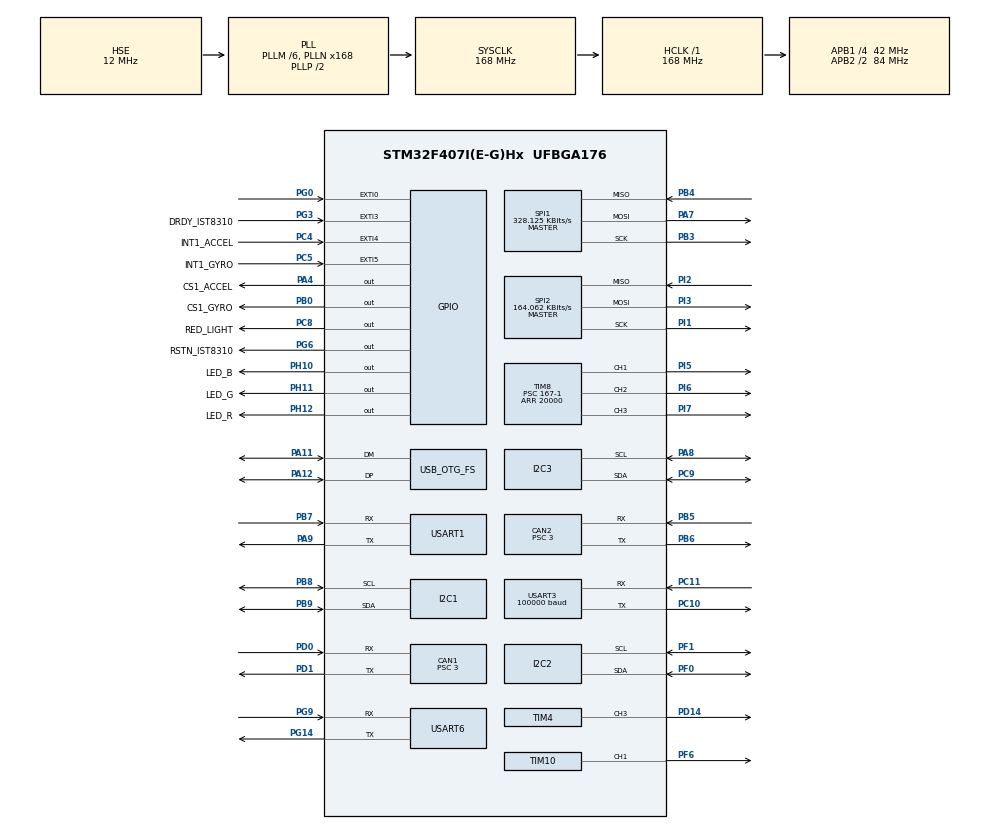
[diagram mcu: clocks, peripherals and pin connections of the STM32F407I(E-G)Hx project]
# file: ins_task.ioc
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CAN1.BS1=CAN_BS1_10TQ
CAN1.BS2=CAN_BS2_3TQ
CAN1.CalculateBaudRate=1000000
CAN1.CalculateTimeQuantum=71.42857142857143
CAN1.Prescaler=3
CAN2.BS1=CAN_BS1_10TQ
CAN2.BS2=CAN_BS2_3TQ
CAN2.CalculateBaudRate=1000000
CAN2.CalculateTimeQuantum=71.42857142857143
CAN2.Prescaler=3
Dma.I2C2_TX.7.Direction=DMA_MEMORY_TO_PERIPH
Dma.I2C2_TX.7.FIFOMode=DMA_FIFOMODE_DISABLE
Dma.I2C2_TX.7.Instance=DMA1_Stream7
Dma.I2C2_TX.7.MemDataAlignment=DMA_MDATAALIGN_BYTE
Dma.I2C2_TX.7.MemInc=DMA_MINC_ENABLE
Dma.I2C2_TX.7.Mode=DMA_NORMAL
Dma.I2C2_TX.7.PeriphDataAlignment=DMA_PDATAALIGN_BYTE
Dma.I2C2_TX.7.PeriphInc=DMA_PINC_DISABLE
Dma.I2C2_TX.7.Priority=DMA_PRIORITY_LOW
Dma.Request0=SPI1_RX
Dma.Request1=SPI1_TX
Dma.Request2=USART3_RX
Dma.Request3=USART1_RX
Dma.Request4=USART1_TX
Dma.Request5=USART6_RX
Dma.Request6=USART6_TX
Dma.Request7=I2C2_TX
Dma.SPI1_RX.0.Direction=DMA_PERIPH_TO_MEMORY
Dma.SPI1_RX.0.FIFOMode=DMA_FIFOMODE_DISABLE
Dma.SPI1_RX.0.Instance=DMA2_Stream2
Dma.SPI1_RX.0.MemDataAlignment=DMA_MDATAALIGN_BYTE
Dma.SPI1_RX.0.MemInc=DMA_MINC_ENABLE
Dma.SPI1_RX.0.Mode=DMA_NORMAL
Dma.SPI1_RX.0.PeriphDataAlignment=DMA_PDATAALIGN_BYTE
Dma.SPI1_RX.0.PeriphInc=DMA_PINC_DISABLE
Dma.SPI1_RX.0.Priority=DMA_PRIORITY_VERY_HIGH
Dma.SPI1_TX.1.Direction=DMA_MEMORY_TO_PERIPH
Dma.SPI1_TX.1.FIFOMode=DMA_FIFOMODE_DISABLE
Dma.SPI1_TX.1.Instance=DMA2_Stream3
Dma.SPI1_TX.1.MemDataAlignment=DMA_MDATAALIGN_BYTE
Dma.SPI1_TX.1.MemInc=DMA_MINC_ENABLE
Dma.SPI1_TX.1.Mode=DMA_NORMAL
Dma.SPI1_TX.1.PeriphDataAlignment=DMA_PDATAALIGN_BYTE
Dma.SPI1_TX.1.PeriphInc=DMA_PINC_DISABLE
Dma.SPI1_TX.1.Priority=DMA_PRIORITY_HIGH
Dma.USART1_RX.3.Direction=DMA_PERIPH_TO_MEMORY
Dma.USART1_RX.3.FIFOMode=DMA_FIFOMODE_DISABLE
Dma.USART1_RX.3.Instance=DMA2_Stream5
Dma.USART1_RX.3.MemDataAlignment=DMA_MDATAALIGN_BYTE
Dma.USART1_RX.3.MemInc=DMA_MINC_ENABLE
Dma.USART1_RX.3.Mode=DMA_CIRCULAR
Dma.USART1_RX.3.PeriphDataAlignment=DMA_PDATAALIGN_BYTE
Dma.USART1_RX.3.PeriphInc=DMA_PINC_DISABLE
Dma.USART1_RX.3.Priority=DMA_PRIORITY_LOW
Dma.USART1_TX.4.Direction=DMA_MEMORY_TO_PERIPH
Dma.USART1_TX.4.FIFOMode=DMA_FIFOMODE_DISABLE
Dma.USART1_TX.4.Instance=DMA2_Stream7
Dma.USART1_TX.4.MemDataAlignment=DMA_MDATAALIGN_BYTE
Dma.USART1_TX.4.MemInc=DMA_MINC_ENABLE
Dma.USART1_TX.4.Mode=DMA_NORMAL
Dma.USART1_TX.4.PeriphDataAlignment=DMA_PDATAALIGN_BYTE
Dma.USART1_TX.4.PeriphInc=DMA_PINC_DISABLE
Dma.USART1_TX.4.Priority=DMA_PRIORITY_LOW
Dma.USART3_RX.2.Direction=DMA_PERIPH_TO_MEMORY
Dma.USART3_RX.2.FIFOMode=DMA_FIFOMODE_DISABLE
Dma.USART3_RX.2.Instance=DMA1_Stream1
Dma.USART3_RX.2.MemDataAlignment=DMA_MDATAALIGN_BYTE
Dma.USART3_RX.2.MemInc=DMA_MINC_ENABLE
Dma.USART3_RX.2.Mode=DMA_CIRCULAR
Dma.USART3_RX.2.PeriphDataAlignment=DMA_PDATAALIGN_BYTE
Dma.USART3_RX.2.PeriphInc=DMA_PINC_DISABLE
Dma.USART3_RX.2.Priority=DMA_PRIORITY_LOW
Dma.USART6_RX.5.Direction=DMA_PERIPH_TO_MEMORY
Dma.USART6_RX.5.FIFOMode=DMA_FIFOMODE_DISABLE
Dma.USART6_RX.5.Instance=DMA2_Stream1
Dma.USART6_RX.5.MemDataAlignment=DMA_MDATAALIGN_BYTE
Dma.USART6_RX.5.MemInc=DMA_MINC_ENABLE
Dma.USART6_RX.5.Mode=DMA_NORMAL
Dma.USART6_RX.5.PeriphDataAlignment=DMA_PDATAALIGN_BYTE
Dma.USART6_RX.5.PeriphInc=DMA_PINC_DISABLE
Dma.USART6_RX.5.Priority=DMA_PRIORITY_LOW
Dma.USART6_TX.6.Direction=DMA_MEMORY_TO_PERIPH
Dma.USART6_TX.6.FIFOMode=DMA_FIFOMODE_DISABLE
Dma.USART6_TX.6.Instance=DMA2_Stream6
Dma.USART6_TX.6.MemDataAlignment=DMA_MDATAALIGN_BYTE
Dma.USART6_TX.6.MemInc=DMA_MINC_ENABLE
Dma.USART6_TX.6.Mode=DMA_NORMAL
Dma.USART6_TX.6.PeriphDataAlignment=DMA_PDATAALIGN_BYTE
Dma.USART6_TX.6.PeriphInc=DMA_PINC_DISABLE
Dma.USART6_TX.6.Priority=DMA_PRIORITY_LOW
FREERTOS.INCLUDE_eTaskGetState=1
FREERTOS.INCLUDE_pcTaskGetTaskName=1
FREERTOS.INCLUDE_uxTaskGetStackHighWaterMark=1
FREERTOS.INCLUDE_vTaskCleanUpResources=1
FREERTOS.INCLUDE_vTaskDelayUntil=1
FREERTOS.INCLUDE_xEventGroupSetBitFromISR=1
FREERTOS.INCLUDE_xQueueGetMutexHolder=1
FREERTOS.INCLUDE_xSemaphoreGetMutexHolder=1
FREERTOS.INCLUDE_xTaskAbortDelay=1
FREERTOS.INCLUDE_xTaskGetCurrentTaskHandle=1
FREERTOS.INCLUDE_xTaskGetHandle=1
FREERTOS.INCLUDE_xTimerPendFunctionCall=1
FREERTOS.Tasks01=PC_send,0,128,pc_send,As weak,NULL,Dynamic,NULL,NULL;Gimbal_task,2,512,gimbal_task,As weak,NULL,Dynamic,NULL,NULL;REFEREE,1,128,referee_usart_task,As weak,NULL,Dynamic,NULL,NULL;Ui_task,-1,256,UI_task,As weak,NULL,Dynamic,NULL,NULL;USB_task,-1,128,usb_task,As weak,NULL,Dynamic,NULL,NULL;SolveTrajectory,-3,128,solvetrajectory_task,As external,NULL,Dynamic,NULL,NULL
FREERTOS.configTOTAL_HEAP_SIZE=24576
I2C2.I2C_Mode=I2C_Fast
I2C3.I2C_Mode=I2C_Fast
Mcu.Family=STM32F4
Mcu.Name=STM32F407I(E-G)Hx
Mcu.Package=UFBGA176
NVIC.CAN1_RX0_IRQn=true\:0\:0\:true\:false\:true\:false\:true\:true\:true
NVIC.CAN2_RX0_IRQn=true\:3\:0\:true\:false\:true\:false\:true\:true\:true
NVIC.DMA1_Stream1_IRQn=true\:5\:0\:true\:false\:true\:false\:false\:true\:true
NVIC.DMA1_Stream7_IRQn=true\:5\:0\:true\:false\:true\:false\:false\:true\:true
NVIC.DMA2_Stream1_IRQn=true\:5\:0\:true\:false\:true\:false\:false\:true\:true
NVIC.DMA2_Stream2_IRQn=true\:5\:0\:true\:false\:false\:false\:false\:true\:true
NVIC.DMA2_Stream3_IRQn=true\:5\:0\:true\:false\:false\:false\:false\:true\:true
NVIC.DMA2_Stream5_IRQn=true\:5\:0\:false\:false\:true\:true\:false\:true\:true
NVIC.DMA2_Stream6_IRQn=true\:5\:0\:true\:false\:true\:false\:false\:true\:true
NVIC.DMA2_Stream7_IRQn=true\:5\:0\:false\:false\:true\:true\:false\:true\:true
NVIC.EXTI0_IRQn=true\:6\:0\:true\:false\:true\:false\:true\:true\:true
NVIC.EXTI3_IRQn=true\:5\:0\:true\:false\:true\:false\:true\:true\:true
NVIC.EXTI4_IRQn=true\:5\:0\:true\:false\:true\:false\:true\:true\:true
NVIC.EXTI9_5_IRQn=true\:5\:0\:true\:false\:true\:false\:true\:true\:true
NVIC.OTG_FS_IRQn=true\:5\:0\:false\:false\:true\:false\:false\:true\:true
NVIC.PriorityGroup=NVIC_PRIORITYGROUP_4
NVIC.TIM1_BRK_TIM9_IRQn=true\:5\:0\:false\:false\:true\:false\:true\:true\:true
NVIC.TIM1_UP_TIM10_IRQn=true\:5\:0\:false\:false\:true\:false\:true\:true\:true
NVIC.TIM2_IRQn=true\:0\:0\:true\:false\:true\:false\:true\:true\:true
NVIC.TIM3_IRQn=true\:5\:0\:false\:false\:true\:true\:true\:true\:true
NVIC.TIM8_CC_IRQn=true\:5\:0\:false\:false\:true\:false\:true\:true\:true
NVIC.USART1_IRQn=true\:4\:0\:true\:false\:true\:false\:true\:true\:true
NVIC.USART3_IRQn=true\:3\:0\:true\:false\:true\:false\:true\:true\:true
NVIC.USART6_IRQn=true\:6\:0\:true\:false\:true\:false\:true\:true\:true
PA11.Mode=Device_Only
PA11.Signal=USB_OTG_FS_DM
PA12.Mode=Device_Only
PA12.Signal=USB_OTG_FS_DP
PA13.Mode=Serial_Wire
PA13.Signal=SYS_JTMS-SWDIO
PA14.Mode=Serial_Wire
PA14.Signal=SYS_JTCK-SWCLK
PA4.GPIO_Label=CS1_ACCEL
PA4.GPIO_PuPd=GPIO_PULLUP
PA4.GPIO_Speed=GPIO_SPEED_FREQ_HIGH
PA4.PinState=GPIO_PIN_SET
PA4.Signal=GPIO_Output
PA7.GPIO_PuPd=GPIO_PULLUP
PA7.Mode=Full_Duplex_Master
PA7.Signal=SPI1_MOSI
PA8.GPIO_Pu=GPIO_PULLUP
PA8.Mode=I2C
PA8.Signal=I2C3_SCL
PA9.Mode=Asynchronous
PA9.Signal=USART1_TX
PB0.GPIO_Label=CS1_GYRO
PB0.GPIO_PuPd=GPIO_PULLUP
PB0.GPIO_Speed=GPIO_SPEED_FREQ_HIGH
PB0.PinState=GPIO_PIN_SET
PB0.Signal=GPIO_Output
PB3.GPIO_PuPd=GPIO_PULLUP
PB3.Mode=Full_Duplex_Master
PB3.Signal=SPI1_SCK
PB4.GPIO_PuPd=GPIO_PULLUP
PB4.Mode=Full_Duplex_Master
PB4.Signal=SPI1_MISO
PB5.Mode=CAN_Activate
PB5.Signal=CAN2_RX
PB6.Mode=CAN_Activate
PB6.Signal=CAN2_TX
PB7.Mode=Asynchronous
PB7.Signal=USART1_RX
PB8.GPIO_Pu=GPIO_PULLUP
PB8.Mode=I2C
PB8.Signal=I2C1_SCL
PB9.GPIO_Pu=GPIO_PULLUP
PB9.Mode=I2C
PB9.Signal=I2C1_SDA
PC10.Mode=Asynchronous
PC10.Signal=USART3_TX
PC11.Mode=Asynchronous
PC11.Signal=USART3_RX
PC4.GPIO_Label=INT1_ACCEL
PC4.GPIO_ModeDefaultEXTI=GPIO_MODE_IT_FALLING
PC4.GPIO_PuPd=GPIO_PULLUP
PC4.Signal=GPXTI4
PC5.GPIO_Label=INT1_GYRO
PC5.GPIO_ModeDefaultEXTI=GPIO_MODE_IT_FALLING
PC5.GPIO_PuPd=GPIO_PULLUP
PC5.Signal=GPXTI5
PC8.GPIO_Label=RED_LIGHT
PC8.GPIO_ModeDefaultOutputPP=GPIO_MODE_OUTPUT_PP
PC8.GPIO_PuPd=GPIO_PULLUP
PC8.GPIO_Speed=GPIO_SPEED_FREQ_MEDIUM
PC8.PinState=GPIO_PIN_SET
PC8.Signal=GPIO_Output
PC9.GPIO_Pu=GPIO_PULLUP
PC9.Mode=I2C
PC9.Signal=I2C3_SDA
PD0.Mode=CAN_Activate
PD0.Signal=CAN1_RX
PD1.Mode=CAN_Activate
PD1.Signal=CAN1_TX
PD14.Signal=S_TIM4_CH3
PF0.GPIO_Pu=GPIO_PULLUP
PF0.Mode=I2C
PF0.Signal=I2C2_SDA
PF1.GPIO_Pu=GPIO_PULLUP
PF1.Mode=I2C
PF1.Signal=I2C2_SCL
PF6.GPIO_PuPd=GPIO_PULLUP
PF6.GPIO_Speed=GPIO_SPEED_FREQ_HIGH
PF6.Signal=S_TIM10_CH1
PG0.GPIO_ModeDefaultEXTI=GPIO_MODE_IT_FALLING
PG0.GPIO_PuPd=GPIO_PULLUP
PG0.Signal=GPXTI0
PG14.Mode=Asynchronous
PG14.Signal=USART6_TX
PG3.GPIO_Label=DRDY_IST8310
PG3.GPIO_ModeDefaultEXTI=GPIO_MODE_IT_FALLING
PG3.GPIO_PuPd=GPIO_PULLUP
PG3.Signal=GPXTI3
PG6.GPIO_Label=RSTN_IST8310
PG6.GPIO_PuPd=GPIO_PULLUP
PG6.GPIO_Speed=GPIO_SPEED_FREQ_MEDIUM
PG6.PinState=GPIO_PIN_SET
PG6.Signal=GPIO_Output
PG9.Mode=Asynchronous
PG9.Signal=USART6_RX
PH0-OSC_IN.Mode=HSE-External-Oscillator
PH0-OSC_IN.Signal=RCC_OSC_IN
PH1-OSC_OUT.Mode=HSE-External-Oscillator
PH1-OSC_OUT.Signal=RCC_OSC_OUT
PH10.GPIO_Label=LED_B
PH10.GPIO_ModeDefaultOutputPP=GPIO_MODE_OUTPUT_PP
PH10.GPIO_PuPd=GPIO_PULLUP
PH10.GPIO_Speed=GPIO_SPEED_FREQ_MEDIUM
PH10.PinState=GPIO_PIN_SET
PH10.Signal=GPIO_Output
PH11.GPIO_Label=LED_G
PH11.GPIO_ModeDefaultOutputPP=GPIO_MODE_OUTPUT_PP
PH11.GPIO_PuPd=GPIO_PULLUP
PH11.GPIO_Speed=GPIO_SPEED_FREQ_MEDIUM
PH11.PinState=GPIO_PIN_SET
PH11.Signal=GPIO_Output
PH12.GPIO_Label=LED_R
PH12.GPIO_ModeDefaultOutputPP=GPIO_MODE_OUTPUT_PP
PH12.GPIO_PuPd=GPIO_PULLUP
PH12.GPIO_Speed=GPIO_SPEED_FREQ_MEDIUM
PH12.PinState=GPIO_PIN_SET
PH12.Signal=GPIO_Output
PI1.Mode=Full_Duplex_Master
PI1.Signal=SPI2_SCK
PI2.Mode=Full_Duplex_Master
PI2.Signal=SPI2_MISO
PI3.Mode=Full_Duplex_Master
PI3.Signal=SPI2_MOSI
PI5.Signal=S_TIM8_CH1
PI6.Signal=S_TIM8_CH2
PI7.Signal=S_TIM8_CH3
ProjectManager.HeapSize=0x2000
ProjectManager.StackSize=0x2000
ProjectManager.TargetToolchain=MDK-ARM V5
RCC.48MHZClocksFreq_Value=48000000
RCC.AHBFreq_Value=168000000
RCC.APB1CLKDivider=RCC_HCLK_DIV4
RCC.APB1Freq_Value=42000000
RCC.APB1TimFreq_Value=84000000
RCC.APB2CLKDivider=RCC_HCLK_DIV2
RCC.APB2Freq_Value=84000000
RCC.APB2TimFreq_Value=168000000
RCC.CortexFreq_Value=168000000
RCC.HCLKFreq_Value=168000000
RCC.HSE_VALUE=12000000
RCC.HSI_VALUE=16000000
RCC.LSE_VALUE=32768
RCC.PLLM=6
RCC.PLLN=168
RCC.PLLQ=7
RCC.RCC_RTC_Clock_SourceVirtual=RCC_RTCCLKSOURCE_HSE_DIV30
RCC.RCC_RTC_Clock_Source_FROM_HSE=RCC_RTCCLKSOURCE_HSE_DIV30
RCC.SYSCLKFreq_VALUE=168000000
RCC.SYSCLKSource=RCC_SYSCLKSOURCE_PLLCLK
RCC.VCOOutputFreq_Value=336000000
SH.S_TIM10_CH1.0=TIM10_CH1,PWM Generation1 CH1
SH.S_TIM4_CH3.0=TIM4_CH3,PWM Generation3 CH3
SH.S_TIM8_CH1.0=TIM8_CH1,Output Compare1 CH1
SH.S_TIM8_CH2.0=TIM8_CH2,Output Compare2 CH2
SH.S_TIM8_CH3.0=TIM8_CH3,PWM Generation3 CH3
SPI1.BaudRatePrescaler=SPI_BAUDRATEPRESCALER_256
SPI1.CLKPhase=SPI_PHASE_2EDGE
SPI1.CLKPolarity=SPI_POLARITY_HIGH
SPI1.CalculateBaudRate=328.125 KBits/s
SPI1.Direction=SPI_DIRECTION_2LINES
SPI1.Mode=SPI_MODE_MASTER
SPI1.VirtualType=VM_MASTER
SPI2.BaudRatePrescaler=SPI_BAUDRATEPRESCALER_256
SPI2.CLKPhase=SPI_PHASE_2EDGE
SPI2.CLKPolarity=SPI_POLARITY_HIGH
SPI2.CalculateBaudRate=164.062 KBits/s
SPI2.Direction=SPI_DIRECTION_2LINES
SPI2.Mode=SPI_MODE_MASTER
SPI2.VirtualType=VM_MASTER
TIM1.Period=5000
TIM1.Prescaler=168-1
TIM10.Channel=TIM_CHANNEL_1
TIM10.Period=4999
TIM2.Period=1000000
TIM2.Prescaler=84-1
TIM3.Period=100-1
TIM3.Prescaler=83
TIM4.Channel-PWM\ Generation3\ CH3=TIM_CHANNEL_3
TIM4.Period=20999
TIM8.Channel-Output\ Compare1\ CH1=TIM_CHANNEL_1
TIM8.Channel-Output\ Compare2\ CH2=TIM_CHANNEL_2
TIM8.Channel-PWM\ Generation3\ CH3=TIM_CHANNEL_3
TIM8.Period=20000
TIM8.Prescaler=167-1
TIM8.Pulse-Output\ Compare1\ CH1=10000
USART1.VirtualMode=VM_ASYNC
USART3.BaudRate=100000
USART3.Parity=PARITY_EVEN
USART3.VirtualMode=VM_ASYNC
USART3.WordLength=WORDLENGTH_8B
USART6.VirtualMode=VM_ASYNC
USB_DEVICE.CLASS_NAME_FS=CDC
USB_DEVICE.VirtualMode-CDC_FS=Cdc
USB_DEVICE.VirtualModeFS=Cdc_FS
USB_OTG_FS.VirtualMode=Device_Only
VP_CRC_VS_CRC.Mode=CRC_Activate
VP_FREERTOS_VS_CMSIS_V1.Mode=CMSIS_V1
VP_TIM10_VS_ClockSourceINT.Mode=Enable_Timer
VP_TIM1_VS_ClockSourceINT.Mode=Internal
VP_TIM2_VS_ClockSourceINT.Mode=Internal
VP_TIM3_VS_ClockSourceINT.Mode=Internal
VP_TIM5_VS_ClockSourceINT.Mode=Internal
VP_TIM8_VS_ClockSourceINT.Mode=Internal
VP_USB_DEVICE_VS_USB_DEVICE_CDC_FS.Mode=CDC_FS
board=custom

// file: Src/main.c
/* USER CODE BEGIN Header */
/**
  ******************************************************************************
  * @file           : main.c
  * @brief          : Main program body
  ******************************************************************************
  * @attention
  *
  * <h2><center>&copy; Copyright (c) 2019 STMicroelectronics.
  * All rights reserved.</center></h2>
  *
  * This software component is licensed by ST under Ultimate Liberty license
  * SLA0044, the "License"; You may not use this file except in compliance with
  * the License. You may obtain a copy of the License at:
  *                             www.st.com/SLA0044
  *
  ******************************************************************************
  */
/* USER CODE END Header */
#include "main.h"
#include "cmsis_os.h"
#include "can.h"
#include "crc.h"
#include "dma.h"
#include "i2c.h"
#include "spi.h"
#include "tim.h"
#include "usart.h"
#include "usb_device.h"
#include "gpio.h"

/* USER CODE BEGIN Includes */
#include "ins_task.h"
#include "bsp_delay.h"
#include "bsp_usart.h"
#include "remote_control.h"
#include "bsp_can.h"
#include "pid.h"
#include "string.h"
#include "CAN_receive.h"
#include "gimbal_task.h"
#include "oled_task.h"
#include "SolveTrajectory.h"
#include "remote_control.h"
#include "stdio.h"
#include "OLED.h"
#include "user_lib.h"
#include "decet_task.h"
#include "fire_control_action.h"
#include "referee.h"
#include "usbd_cdc_if.h"
#include "bsp_flash.h"
#include "OLED.h"
#include "bsp_dwt.h"
#include "BMI088driver.h"
/* USER CODE END Includes */

/* USER CODE BEGIN PTD */
uint8_t sbus_rx_buffer[18]; 		//声明遥控器缓存数组

/* USER CODE END PTD */

void SystemClock_Config(void);
void MX_FREERTOS_Init(void);

/* USER CODE BEGIN 0 */
#define FLASH_DATA_LENGHT   19
uint8_t after_erase_data[FLASH_DATA_LENGHT];
uint8_t write_data[FLASH_DATA_LENGHT] = "The spear of Ares\r\n";
uint8_t after_write_data[FLASH_DATA_LENGHT];
/* USER CODE END 0 */

int main(void)
{

  /* MCU Configuration--------------------------------------------------------*/

  /* Reset of all peripherals, Initializes the Flash interface and the Systick. */
  HAL_Init();

  /* Configure the system clock */
  SystemClock_Config();

  /* Initialize all configured peripherals */
  MX_GPIO_Init();
  MX_DMA_Init();
  MX_SPI1_Init();
  MX_TIM5_Init();
  MX_TIM10_Init();
  MX_CAN1_Init();
  MX_CAN2_Init();
  MX_USART3_UART_Init();
  MX_SPI2_Init();
  MX_TIM1_Init();
  MX_TIM2_Init();
  MX_TIM8_Init();
  MX_USART1_UART_Init();
  MX_CRC_Init();
  MX_USART6_UART_Init();
  MX_I2C1_Init();
  MX_I2C2_Init();
  MX_I2C3_Init();
  MX_TIM3_Init();
  MX_TIM4_Init();
  /* USER CODE BEGIN 2 */
  delay_init();
	MX_USB_DEVICE_Init();
	HAL_TIM_Base_Start_IT(&htim2);
	HAL_TIM_Base_Start_IT(&htim4);
	HAL_TIM_Base_Start_IT(&htim8);
	HAL_TIM_PWM_Start(&htim8,TIM_CHANNEL_3);
	HAL_TIM_PWM_Start(&htim4,TIM_CHANNEL_3);
	remote_control_init();
	can_filter_init();
	Bsp_UART_Receive_IT((UART_HandleTypeDef *) &huart1,(uint8_t *)PC_Buf  , (uint16_t)50);//开启空闲接受PC数据kjs;
	red_linght_open();
	DWT_Init(168);
	while (BMI088_init(&hspi1, 0) != BMI088_NO_ERROR)
	;
  /* USER CODE END 2 */

  /* Call init function for freertos objects (in freertos.c) */
  MX_FREERTOS_Init();

  /* Start scheduler */
  osKernelStart();

  /* We should never get here as control is now taken by the scheduler */
  /* Infinite loop */
  while (1)
  {

  }
}

void SystemClock_Config(void)
{
  RCC_OscInitTypeDef RCC_OscInitStruct = {0};
  RCC_ClkInitTypeDef RCC_ClkInitStruct = {0};

  /** Configure the main internal regulator output voltage
  */
  __HAL_RCC_PWR_CLK_ENABLE();
  __HAL_PWR_VOLTAGESCALING_CONFIG(PWR_REGULATOR_VOLTAGE_SCALE1);

  /** Initializes the RCC Oscillators according to the specified parameters
  * in the RCC_OscInitTypeDef structure.
  */
  RCC_OscInitStruct.OscillatorType = RCC_OSCILLATORTYPE_HSE;
  RCC_OscInitStruct.HSEState = RCC_HSE_ON;
  RCC_OscInitStruct.PLL.PLLState = RCC_PLL_ON;
  RCC_OscInitStruct.PLL.PLLSource = RCC_PLLSOURCE_HSE;
  RCC_OscInitStruct.PLL.PLLM = 6;
  RCC_OscInitStruct.PLL.PLLN = 168;
  RCC_OscInitStruct.PLL.PLLP = RCC_PLLP_DIV2;
  RCC_OscInitStruct.PLL.PLLQ = 7;
  if (HAL_RCC_OscConfig(&RCC_OscInitStruct) != HAL_OK)
  {
    Error_Handler();
  }

  /** Initializes the CPU, AHB and APB buses clocks
  */
  RCC_ClkInitStruct.ClockType = RCC_CLOCKTYPE_HCLK|RCC_CLOCKTYPE_SYSCLK
                              |RCC_CLOCKTYPE_PCLK1|RCC_CLOCKTYPE_PCLK2;
  RCC_ClkInitStruct.SYSCLKSource = RCC_SYSCLKSOURCE_PLLCLK;
  RCC_ClkInitStruct.AHBCLKDivider = RCC_SYSCLK_DIV1;
  RCC_ClkInitStruct.APB1CLKDivider = RCC_HCLK_DIV4;
  RCC_ClkInitStruct.APB2CLKDivider = RCC_HCLK_DIV2;

  if (HAL_RCC_ClockConfig(&RCC_ClkInitStruct, FLASH_LATENCY_5) != HAL_OK)
  {
    Error_Handler();
  }
}

/* USER CODE BEGIN 4 */
void HAL_TIM_PeriodElapsedCallback(TIM_HandleTypeDef *htim)//定时器中断
{
	if(htim->Instance==TIM1)//1s200次
	{

	}
	if(htim->Instance==TIM2)//1s一次
	{
		Hz_detection_task();
	}
	if(htim->Instance==TIM3)//0.1ms一次
	{
		Time.main_Time++;
	}
}
void vTaskFunction( void * pvParameters )
 {
 TickType_t xLastWakeTime;
 const TickType_t xFrequency = 10;

     // Initialise the xLastWakeTime variable with the current time.
     xLastWakeTime = xTaskGetTickCount();

     for( ;; )
     {
         // Wait for the next cycle.
         vTaskDelayUntil( &xLastWakeTime, xFrequency );
         // Perform action here.
     }
 }
/* USER CODE END 4 */

void Error_Handler(void)
{
}

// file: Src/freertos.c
/* USER CODE BEGIN Header */
/**
  ******************************************************************************
  * File Name          : freertos.c
  * Description        : Code for freertos applications
  ******************************************************************************
  * @attention
  *
  * <h2><center>&copy; Copyright (c) 2019 STMicroelectronics.
  * All rights reserved.</center></h2>
  *
  * This software component is licensed by ST under Ultimate Liberty license
  * SLA0044, the "License"; You may not use this file except in compliance with
  * the License. You may obtain a copy of the License at:
  *                             www.st.com/SLA0044
  *
  ******************************************************************************
  */
/* USER CODE END Header */

#include "FreeRTOS.h"
#include "task.h"
#include "main.h"
#include "cmsis_os.h"

/* USER CODE BEGIN Includes */
#include "UI_task.h"
#include "ins_task.h"
#include "referee_usart_task.h"
#include "led_flow_task.h"
#include "gimbal_task.h"
//#include "calibrate_task.h"
/* USER CODE END Includes */

/* USER CODE BEGIN PTD */

osThreadId imuTaskHandle;
osThreadId led_RGB_flow_handle;
osThreadId calibrate_tast_handle;
/* USER CODE END PTD */

osThreadId PC_sendHandle;
osThreadId Gimbal_taskHandle;
osThreadId REFEREEHandle;
osThreadId Ui_taskHandle;
osThreadId USB_taskHandle;
osThreadId SolveTrajectoryHandle;

void pc_send(void const * argument);
void gimbal_task(void const * argument);
void referee_usart_task(void const * argument);
void UI_task(void const * argument);
void usb_task(void const * argument);
extern void solvetrajectory_task(void const * argument);

extern void MX_USB_DEVICE_Init(void);
void MX_FREERTOS_Init(void); /* (MISRA C 2004 rule 8.1) */

/* GetIdleTaskMemory prototype (linked to static allocation support) */
void vApplicationGetIdleTaskMemory( StaticTask_t **ppxIdleTaskTCBBuffer, StackType_t **ppxIdleTaskStackBuffer, uint32_t *pulIdleTaskStackSize );

/* GetTimerTaskMemory prototype (linked to static allocation support) */
void vApplicationGetTimerTaskMemory( StaticTask_t **ppxTimerTaskTCBBuffer, StackType_t **ppxTimerTaskStackBuffer, uint32_t *pulTimerTaskStackSize );

/* USER CODE BEGIN GET_IDLE_TASK_MEMORY */
static StaticTask_t xIdleTaskTCBBuffer;
static StackType_t xIdleStack[configMINIMAL_STACK_SIZE];

void vApplicationGetIdleTaskMemory( StaticTask_t **ppxIdleTaskTCBBuffer, StackType_t **ppxIdleTaskStackBuffer, uint32_t *pulIdleTaskStackSize )
{
  *ppxIdleTaskTCBBuffer = &xIdleTaskTCBBuffer;
  *ppxIdleTaskStackBuffer = &xIdleStack[0];
  *pulIdleTaskStackSize = configMINIMAL_STACK_SIZE;
  /* place for user code */
}
/* USER CODE END GET_IDLE_TASK_MEMORY */

/* USER CODE BEGIN GET_TIMER_TASK_MEMORY */
static StaticTask_t xTimerTaskTCBBuffer;
static StackType_t xTimerStack[configTIMER_TASK_STACK_DEPTH];

void vApplicationGetTimerTaskMemory( StaticTask_t **ppxTimerTaskTCBBuffer, StackType_t **ppxTimerTaskStackBuffer, uint32_t *pulTimerTaskStackSize )
{
  *ppxTimerTaskTCBBuffer = &xTimerTaskTCBBuffer;
  *ppxTimerTaskStackBuffer = &xTimerStack[0];
  *pulTimerTaskStackSize = configTIMER_TASK_STACK_DEPTH;
  /* place for user code */
}
/* USER CODE END GET_TIMER_TASK_MEMORY */

void MX_FREERTOS_Init(void) {

  /* Create the thread(s) */
  /* definition and creation of PC_send */
  osThreadDef(PC_send, pc_send, osPriorityNormal, 0, 128);
  PC_sendHandle = osThreadCreate(osThread(PC_send), NULL);

  /* definition and creation of Gimbal_task */
  osThreadDef(Gimbal_task, gimbal_task, osPriorityHigh, 0, 512);
  Gimbal_taskHandle = osThreadCreate(osThread(Gimbal_task), NULL);

  /* definition and creation of REFEREE */
  osThreadDef(REFEREE, referee_usart_task, osPriorityAboveNormal, 0, 128);
  REFEREEHandle = osThreadCreate(osThread(REFEREE), NULL);

  /* definition and creation of Ui_task */
  osThreadDef(Ui_task, UI_task, osPriorityNormal, 0, 256);
  Ui_taskHandle = osThreadCreate(osThread(Ui_task), NULL);

  /* definition and creation of USB_task */
  osThreadDef(USB_task, usb_task, osPriorityNormal, 0, 256);
  USB_taskHandle = osThreadCreate(osThread(USB_task), NULL);

  /* definition and creation of SolveTrajectory */
//  osThreadDef(SolveTrajectory, solvetrajectory_task, osPriorityNormal, 0, 256);
//  SolveTrajectoryHandle = osThreadCreate(osThread(SolveTrajectory), NULL);

  /* USER CODE BEGIN RTOS_THREADS */
  /* add threads, ... */
	osThreadDef(imuTask, INS_Task, osPriorityRealtime, 0, 1024);
	imuTaskHandle = osThreadCreate(osThread(imuTask), NULL);

//	osThreadDef(led, led_RGB_flow_task, osPriorityLow , 0, 256);
//	led_RGB_flow_handle = osThreadCreate(osThread(led), NULL);

//	osThreadDef(cali, calibrate_task, osPriorityNormal, 0, 512);
//	calibrate_tast_handle = osThreadCreate(osThread(cali), NULL);//시攣

  /* USER CODE END RTOS_THREADS */

}

__weak void pc_send(void const * argument)
{
  /* init code for USB_DEVICE */
  MX_USB_DEVICE_Init();
  for(;;)
  {
    osDelay(1);
  }
}

__weak void gimbal_task(void const * argument)
{
  for(;;)
  {
    osDelay(1);
  }
}

__weak void referee_usart_task(void const * argument)
{
  for(;;)
  {
    osDelay(1);
  }
}

__weak void UI_task(void const * argument)
{
  for(;;)
  {
    osDelay(1);
  }
}

__weak void usb_task(void const * argument)
{
  for(;;)
  {
    osDelay(1);
  }
}
